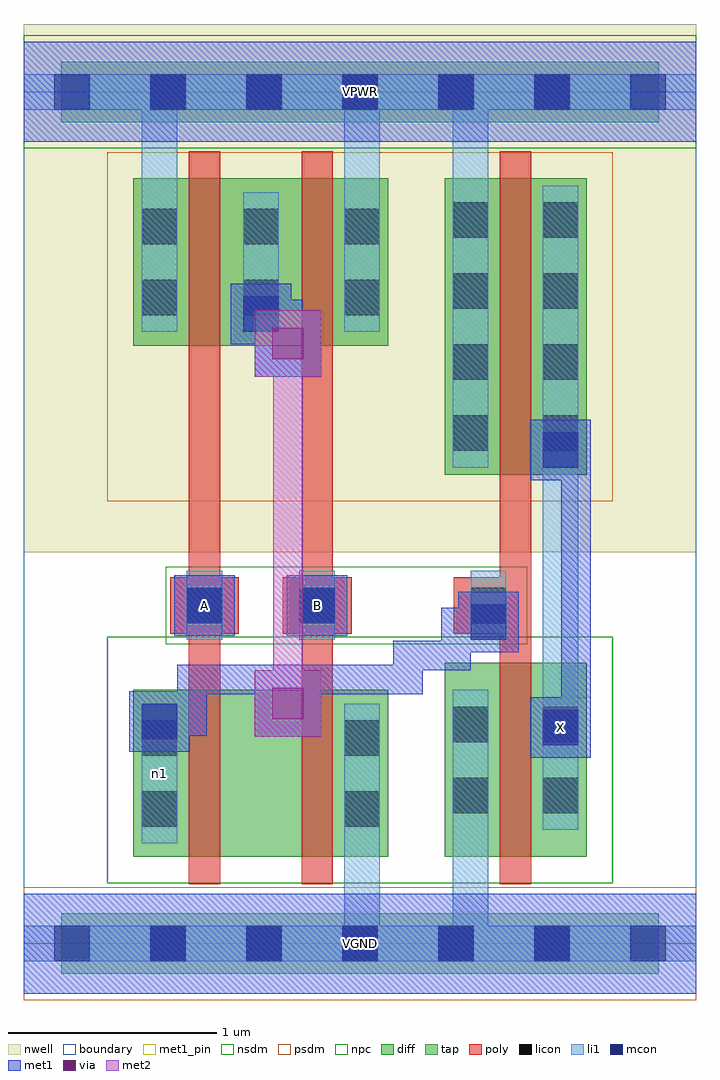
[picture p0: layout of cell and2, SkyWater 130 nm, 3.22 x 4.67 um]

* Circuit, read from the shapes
.subckt and2 A B VGND VPWR X n1
XM1 n2 A n1 VGND sky130_fd_pr__nfet_01v8 w=0.8 l=0.15
XM2 VGND B n2 VGND sky130_fd_pr__nfet_01v8 w=0.8 l=0.15
XM3 X n1 VGND VGND sky130_fd_pr__nfet_01v8 w=0.93 l=0.15
XM4 n1 A VPWR VPWR sky130_fd_pr__pfet_01v8 w=0.8 l=0.15
XM5 VPWR B n1 VPWR sky130_fd_pr__pfet_01v8 w=0.8 l=0.15
XM6 X n1 VPWR VPWR sky130_fd_pr__pfet_01v8 w=1.42 l=0.15
.ends

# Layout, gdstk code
import gdstk
lib = gdstk.Library(unit=1e-6, precision=1e-09)
def R(c, l, rs):  # rectangles x0, y0, x1, y1
    for r in rs: c.add(gdstk.rectangle(r[:2], r[2:], *l))
def A(c, l, x, y, w, h, nx, ny, dx, dy):  # array of equal rectangles
    R(c, l, [(x+i*dx, y+j*dy, x+i*dx+w, y+j*dy+h) for i in range(nx) for j in range(ny)])
nwell = (64, 20)
diff = (65, 20)
tap = (65, 44)
poly = (66, 20)
licon = (66, 44)
li1 = (67, 20)
mcon = (67, 44)
met1_pin = (68, 16)
met1 = (68, 20)
via = (68, 44)
met2 = (69, 20)
nsdm = (93, 44)
psdm = (94, 20)
npc = (95, 20)
boundary = (235, 4)

and2 = lib.new_cell('and2')
R(and2, nwell, [(0,1.875,3.22,4.405)])
R(and2, diff, [(0.525,0.415,1.745,1.215), (2.015,0.415,2.695,1.345), (2.015,2.245,2.695,3.665), (0.525,2.865,1.745,3.665)])
R(and2, tap, [(0.18,-0.145,3.04,0.145), (0.18,3.935,3.04,4.225)])
R(and2, poly, [(0.79,0.285,0.94,3.795), (1.33,0.285,1.48,3.795), (2.28,0.285,2.43,3.795), (0.7,1.485,1.03,1.755), (1.24,1.485,1.57,1.755), (2.06,1.485,2.39,1.755)])
A(and2, licon, 0.605, -0.085, 0.17, 0.17, 5, 2, 0.46, 4.08)
A(and2, licon, 2.055, 2.36, 0.17, 0.17, 1, 4, 0, 0.34)
A(and2, licon, 2.485, 2.36, 0.17, 0.17, 1, 4, 0, 0.34)
A(and2, licon, 0.565, 3.01, 0.17, 0.17, 3, 2, 0.485, 0.34)
R(and2, licon, [(0.565,0.56,0.735,0.73), (1.535,0.56,1.705,0.73), (2.055,0.625,2.225,0.795), (2.485,0.625,2.655,0.795), (0.565,0.9,0.735,1.07), (1.535,0.9,1.705,1.07), (2.055,0.965,2.225,1.135), (2.485,0.965,2.655,1.135), (0.78,1.535,0.95,1.705), (1.32,1.535,1.49,1.705), (2.14,1.535,2.31,1.705)])
A(and2, li1, 0.565, 2.93, 0.17, 0.67, 3, 1, 0.485, 0)
R(and2, li1, [(0,-0.085,3.22,0.085), (1.535,-0.085,1.705,1.15), (2.055,-0.085,2.225,1.215), (0.565,0.48,0.735,1.15), (1.535,0.48,1.705,1.15), (2.055,0.545,2.225,1.215), (2.485,0.545,2.655,1.215), (2.485,0.545,2.655,3.63), (0.78,1.455,0.95,1.785), (1.32,1.455,1.49,1.785), (2.14,1.455,2.31,1.785), (2.055,2.28,2.225,3.63), (2.055,2.28,2.225,4.165), (2.485,2.28,2.655,3.63), (0.565,2.93,0.735,4.165), (1.535,2.93,1.705,4.165), (0,3.995,3.22,4.165)])
A(and2, mcon, 0.145, -0.085, 0.17, 0.17, 7, 2, 0.46, 4.08)
R(and2, mcon, [(2.485,0.95,2.655,1.12), (0.565,0.98,0.735,1.15), (2.14,1.455,2.31,1.625), (0.78,1.535,0.95,1.705), (1.32,1.535,1.49,1.705), (2.485,2.28,2.655,2.45), (1.05,2.93,1.22,3.1)])
R(and2, met1_pin, [(0,-0.24,3.22,0.24), (2.425,0.89,2.715,1.18), (0.72,1.475,1.01,1.765), (1.26,1.475,1.55,1.765), (0,3.84,3.22,4.32)])
R(and2, met1, [(0,-0.24,3.22,0.24), (2.425,0.89,2.715,1.18), (0.505,0.92,0.795,1.21), (2.5,0.965,2.715,1.105), (2.575,0.965,2.715,2.255), (1.105,0.99,1.425,1.31), (0.58,0.995,0.875,1.135), (0.735,0.995,0.875,1.335), (1.195,1.08,1.335,1.335), (0.735,1.195,1.91,1.335), (1.77,1.195,1.91,1.45), (1.77,1.31,2.14,1.45), (2,1.31,2.14,1.61), (2.08,1.395,2.37,1.685), (2,1.47,2.295,1.61), (0.72,1.475,1.01,1.765), (1.26,1.475,1.55,1.765), (2.575,2.115,2.715,2.435), (2.425,2.22,2.715,2.51), (2.5,2.295,2.715,2.435), (1.105,2.715,1.425,3.035), (1.195,2.805,1.335,3.085), (0.99,2.87,1.28,3.16), (1.065,2.945,1.335,3.085), (0,3.84,3.22,4.32)])
R(and2, via, [(1.19,1.075,1.34,1.225), (1.19,2.8,1.34,2.95)])
R(and2, met2, [(1.105,0.99,1.425,1.31), (1.195,1.08,1.335,2.945), (1.105,2.715,1.425,3.035)])
R(and2, nsdm, [(0.4,0.29,2.82,1.47), (0,3.81,3.22,4.35)])
R(and2, psdm, [(0,-0.27,3.22,0.27), (0.4,2.12,2.82,3.79)])
R(and2, npc, [(0.68,1.435,2.41,1.805)])
R(and2, boundary, [(0,0,3.22,4.08)])
and2.add(gdstk.Label('n1', (0.65,0.815), layer=67, texttype=5))
and2.add(gdstk.Label('A', (0.865,1.62), layer=68, texttype=5))
and2.add(gdstk.Label('B', (1.405,1.62), layer=68, texttype=5))
and2.add(gdstk.Label('X', (2.57,1.035), layer=68, texttype=5))
and2.add(gdstk.Label('VPWR', (1.61,4.08), layer=68, texttype=5))
and2.add(gdstk.Label('VGND', (1.61,0), layer=68, texttype=5))
and2.add(gdstk.Label('A', (0.865,1.62), layer=68, texttype=16))
and2.add(gdstk.Label('B', (1.405,1.62), layer=68, texttype=16))
and2.add(gdstk.Label('X', (2.57,1.035), layer=68, texttype=16))
and2.add(gdstk.Label('VPWR', (1.61,4.08), layer=68, texttype=16))
and2.add(gdstk.Label('VGND', (1.61,0), layer=68, texttype=16))

lib.write_gds('and2.gds')
